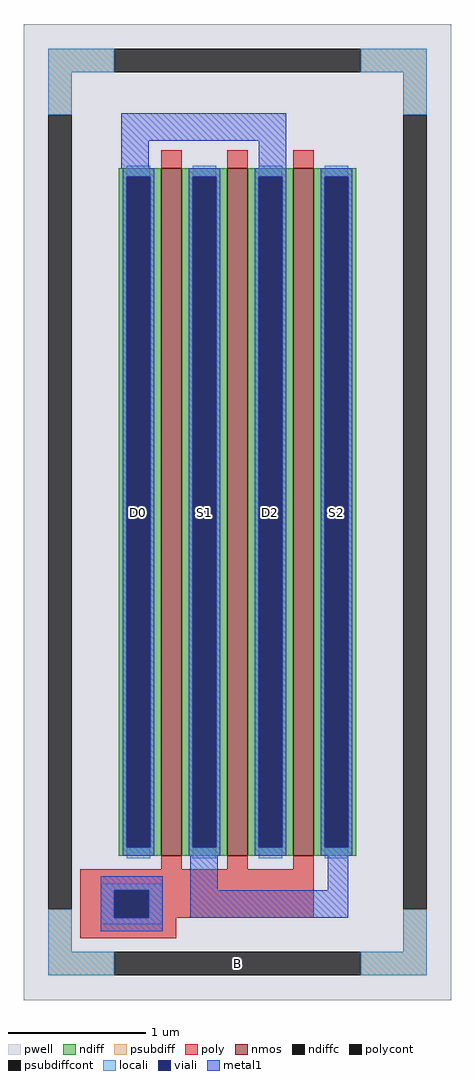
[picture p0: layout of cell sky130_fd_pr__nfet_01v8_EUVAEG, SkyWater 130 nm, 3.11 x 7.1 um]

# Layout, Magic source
magic
tech sky130A
magscale 1 2
<< pwell >>
rect -311 -710 311 710
<< nmos >>
rect -111 -500 -81 500
rect -15 -500 15 500
rect 81 -500 111 500
<< ndiff >>
rect -173 488 -111 500
rect -173 -488 -161 488
rect -127 -488 -111 488
rect -173 -500 -111 -488
rect -81 488 -15 500
rect -81 -488 -65 488
rect -31 -488 -15 488
rect -81 -500 -15 -488
rect 15 488 81 500
rect 15 -488 31 488
rect 65 -488 81 488
rect 15 -500 81 -488
rect 111 488 173 500
rect 111 -488 127 488
rect 161 -488 173 488
rect 111 -500 173 -488
<< ndiffc >>
rect -161 -488 -127 488
rect -65 -488 -31 488
rect 31 -488 65 488
rect 127 -488 161 488
<< psubdiff >>
rect -275 640 -179 674
rect 179 640 275 674
rect -275 578 -241 640
rect 241 578 275 640
rect -275 -640 -241 -578
rect 241 -640 275 -578
rect -275 -674 -179 -640
rect 179 -674 275 -640
<< psubdiffcont >>
rect -179 640 179 674
rect -275 -578 -241 578
rect 241 -578 275 578
rect -179 -674 179 -640
<< poly >>
rect -111 500 -81 526
rect -15 500 15 526
rect 81 500 111 526
rect -111 -520 -81 -500
rect -15 -520 15 -500
rect 81 -520 111 -500
rect -229 -550 111 -520
rect -229 -590 -179 -550
rect -129 -590 111 -550
rect -229 -620 -89 -590
<< polycont >>
rect -179 -590 -129 -550
<< locali >>
rect -275 640 -179 674
rect 179 640 275 674
rect -275 578 -241 640
rect 241 578 275 640
rect -161 488 -127 504
rect -161 -504 -127 -488
rect -65 488 -31 504
rect -65 -504 -31 -488
rect 31 488 65 504
rect 31 -504 65 -488
rect 127 488 161 504
rect 127 -504 161 -488
rect -275 -640 -241 -578
rect -199 -550 -109 -540
rect -199 -590 -179 -550
rect -129 -590 -109 -550
rect -199 -600 -109 -590
rect 241 -640 275 -578
rect -275 -674 -179 -640
rect 179 -674 275 -640
<< viali >>
rect -161 -488 -127 488
rect -65 -488 -31 488
rect 31 -488 65 488
rect 127 -488 161 488
rect -179 -590 -129 -550
<< metal1 >>
rect -169 540 71 580
rect -169 500 -129 540
rect 31 500 71 540
rect -167 488 -121 500
rect -167 -488 -161 488
rect -127 -488 -121 488
rect -167 -500 -121 -488
rect -71 488 -25 500
rect -71 -488 -65 488
rect -31 -488 -25 488
rect -71 -500 -25 -488
rect 25 488 71 500
rect 25 -488 31 488
rect 65 -488 71 488
rect 25 -500 71 -488
rect 121 488 167 500
rect 121 -488 127 488
rect 161 -488 167 488
rect 121 -500 167 -488
rect -199 -550 -109 -530
rect -199 -590 -179 -550
rect -129 -590 -109 -550
rect -69 -550 -29 -500
rect 131 -550 161 -500
rect -69 -590 161 -550
rect -199 -610 -109 -590
<< labels >>
rlabel psubdiffcont 0 -657 0 -657 0 B
port 1 nsew
rlabel ndiffc -144 0 -144 0 0 D0
port 2 nsew
rlabel ndiffc -48 0 -48 0 0 S1
port 4 nsew
rlabel ndiffc 48 0 48 0 0 D2
port 6 nsew
rlabel ndiffc 144 0 144 0 0 S2
port 7 nsew
<< properties >>
string FIXED_BBOX -258 -657 258 657
string gencell sky130_fd_pr__nfet_01v8
string library sky130
string parameters w 5.0 l 0.15 m 1 nf 3 diffcov 100 polycov 100 guard 1 glc 1 grc 1 gtc 1 gbc 1 tbcov 100 rlcov 100 topc 1 botc 1 poverlap 0 doverlap 1 lmin 0.15 wmin 0.42 class mosfet compatible {sky130_fd_pr__nfet_01v8 sky130_fd_pr__nfet_01v8_lvt  sky130_fd_bs_flash__special_sonosfet_star  sky130_fd_pr__nfet_g5v0d10v5 sky130_fd_pr__nfet_05v0_nvt  sky130_fd_pr__nfet_03v3_nvt} full_metal 1 conn_gates 0 viasrc 100 viadrn 100 viagate 100 viagb 0 viagr 0 viagl 0 viagt 0 doports 1
<< end >>
